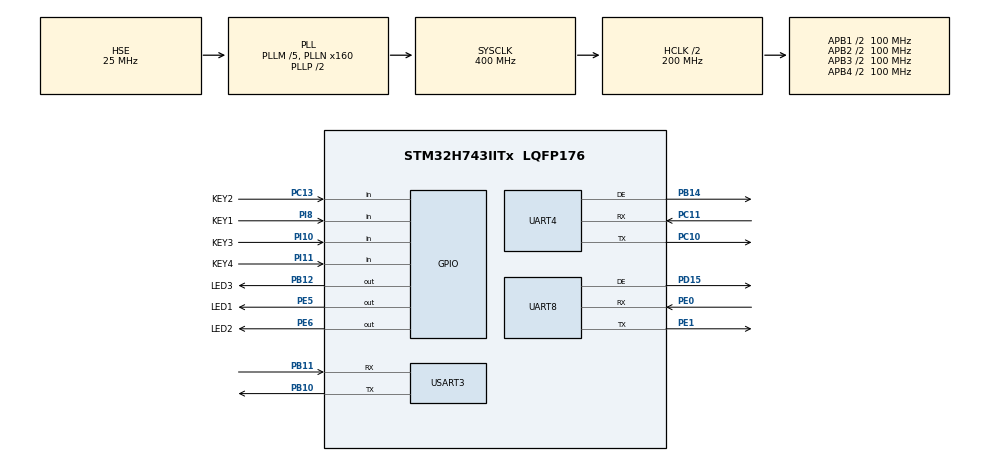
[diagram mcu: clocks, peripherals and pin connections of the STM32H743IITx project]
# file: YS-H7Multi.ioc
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CORTEX_M7.CPU_DCache=Enabled
CORTEX_M7.CPU_ICache=Enabled
FREERTOS.Tasks01=defaultTask,24,128,StartDefaultTask,Default,NULL,Dynamic,NULL,NULL;myMbReadSensors,8,256,StartMbReadSensorsTask,As external,NULL,Dynamic,NULL,NULL;myMbSettingsTas,8,256,StartMbSettingsTask,As external,NULL,Dynamic,NULL,NULL
FREERTOS.Timers01=basic1SecTimer,basic1SecCallback,osTimerPeriodic,As external,NULL,Dynamic,NULL
FREERTOS.configGENERATE_RUN_TIME_STATS=1
FREERTOS.configUSE_STATS_FORMATTING_FUNCTIONS=1
IWDG1.Prescaler=IWDG_PRESCALER_32
Mcu.Family=STM32H7
Mcu.Name=STM32H743IITx
Mcu.Package=LQFP176
NVIC.PriorityGroup=NVIC_PRIORITYGROUP_4
NVIC.TIM7_IRQn=true\:15\:0\:false\:false\:true\:false\:false\:true
NVIC.TimeBase=TIM7_IRQn
NVIC.TimeBaseIP=TIM7
NVIC.UART4_IRQn=true\:5\:0\:false\:false\:true\:true\:true\:true
NVIC.USART3_IRQn=true\:5\:0\:false\:false\:true\:true\:true\:true
PA13\ (JTMS/SWDIO).Mode=Serial_Wire
PA13\ (JTMS/SWDIO).Signal=DEBUG_JTMS-SWDIO
PA14\ (JTCK/SWCLK).Mode=Serial_Wire
PA14\ (JTCK/SWCLK).Signal=DEBUG_JTCK-SWCLK
PB10.Mode=Asynchronous
PB10.Signal=USART3_TX
PB11.Mode=Asynchronous
PB11.Signal=USART3_RX
PB12.GPIO_Label=LED3
PB12.Signal=GPIO_Output
PB14.Mode=Hardware Flow Control (RS485)
PB14.Signal=UART4_DE
PC10.Mode=Asynchronous
PC10.Signal=UART4_TX
PC11.Mode=Asynchronous
PC11.Signal=UART4_RX
PC13.GPIO_Label=KEY2
PC13.Signal=GPIO_Input
PC14-OSC32_IN\ (OSC32_IN).Mode=LSE-External-Oscillator
PC14-OSC32_IN\ (OSC32_IN).Signal=RCC_OSC32_IN
PC15-OSC32_OUT\ (OSC32_OUT).Mode=LSE-External-Oscillator
PC15-OSC32_OUT\ (OSC32_OUT).Signal=RCC_OSC32_OUT
PD15.Mode=Hardware Flow Control (RS485)
PD15.Signal=UART8_DE
PE0.Mode=Asynchronous
PE0.Signal=UART8_RX
PE1.Mode=Asynchronous
PE1.Signal=UART8_TX
PE5.GPIO_Label=LED1
PE5.Signal=GPIO_Output
PE6.GPIO_Label=LED2
PE6.Signal=GPIO_Output
PH0-OSC_IN\ (PH0).Mode=HSE-External-Oscillator
PH0-OSC_IN\ (PH0).Signal=RCC_OSC_IN
PH1-OSC_OUT\ (PH1).Mode=HSE-External-Oscillator
PH1-OSC_OUT\ (PH1).Signal=RCC_OSC_OUT
PI10.GPIO_Label=KEY3
PI10.Signal=GPIO_Input
PI11.GPIO_Label=KEY4
PI11.Signal=GPIO_Input
PI8.GPIO_Label=KEY1
PI8.Signal=GPIO_Input
ProjectManager.HeapSize=0x400
ProjectManager.StackSize=0x1000
ProjectManager.TargetToolchain=STM32CubeIDE
RCC.ADCCLockSelection=RCC_ADCCLKSOURCE_PLL2
RCC.ADCFreq_Value=400000000
RCC.APB1Freq_Value=100000000
RCC.APB2Freq_Value=100000000
RCC.APB3Freq_Value=100000000
RCC.APB4Freq_Value=100000000
RCC.CECCLockSelection=RCC_CECCLKSOURCE_LSI
RCC.CKPERSourceSelection=RCC_CLKPSOURCE_HSI
RCC.CSI_VALUE=4000000
RCC.CortexFreq_Value=400000000
RCC.Cortex_Div=SYSTICK_CLKSOURCE_HCLK
RCC.Cortex_DivARG=SystemCoreClock/1000
RCC.D1CPRE=RCC_SYSCLK_DIV1
RCC.D1PPRE=RCC_APB3_DIV2
RCC.D2PPRE1=RCC_APB1_DIV2
RCC.D2PPRE2=RCC_APB2_DIV2
RCC.D3PPRE=RCC_APB4_DIV2
RCC.DFSDMCLockSelection=RCC_DFSDM1CLKSOURCE_D2PCLK1
RCC.DIVM1=5
RCC.DIVM2=5
RCC.DIVM3=5
RCC.DIVN1=160
RCC.DIVN2=160
RCC.DIVN3=160
RCC.DIVP1=2
RCC.DIVP2=2
RCC.DIVP3=2
RCC.DIVQ1=2
RCC.DIVQ2=2
RCC.DIVQ3=2
RCC.DIVR1=2
RCC.DIVR2=2
RCC.DIVR3=2
RCC.DSICLockSelection=RCC_DSICLKSOURCE_PHY
RCC.DSIPHY_Div=8
RCC.DSITX_Div=4
RCC.DSI_PHY_VALUE=12288000
RCC.EXTERNAL_CLOCK_VALUE=12288000
RCC.EnbaleCSS=true
RCC.FDCANCLockSelection=RCC_FDCANCLKSOURCE_PLL
RCC.FMCCLockSelection=RCC_FMCCLKSOURCE_D1HCLK
RCC.HCLKFreq_Value=200000000
RCC.HPRE=RCC_HCLK_DIV2
RCC.HSE_VALUE=25000000
RCC.HSIDiv=RCC_PLLSAIDIVR_1
RCC.HSI_VALUE=64000000
RCC.I2C123CLockSelection=RCC_I2C123CLKSOURCE_D2PCLK1
RCC.I2C4CLockSelection=RCC_I2C4CLKSOURCE_D3PCLK1
RCC.LPTIM1CLockSelection=RCC_LPTIM1CLKSOURCE_D2PCLK1
RCC.LPTIM2CLockSelection=RCC_LPTIM2CLKSOURCE_D3PCLK1
RCC.LPTIM345CLockSelection=RCC_LPTIM345CLKSOURCE_D3PCLK1
RCC.LPUART1CLockSelection=RCC_LPUART1CLKSOURCE_D3PCLK1
RCC.PLLDSIDev=2
RCC.PLLDSIIDF=DSI_PLL_IN_DIV1
RCC.PLLDSIMult=2
RCC.PLLDSINDIV=20
RCC.PLLDSIODF=DSI_PLL_OUT_DIV1
RCC.PLLSourceVirtual=RCC_PLLSOURCE_HSE
RCC.PWR_Regulator_Voltage_Scale=PWR_REGULATOR_VOLTAGE_SCALE1
RCC.QSPICLockSelection=RCC_QSPICLKSOURCE_D1HCLK
RCC.RC48_VALUE=48000000
RCC.RCC_MCO1Source=RCC_MCO1SOURCE_HSI
RCC.RCC_MCO2Source=RCC_MCO2SOURCE_SYSCLK
RCC.RCC_MCODiv1=RCC_MCODIV_1
RCC.RCC_MCODiv2=RCC_MCODIV_1
RCC.RCC_RTC_Clock_Source_FROM_HSE=RCC_RTCCLKSOURCE_HSE_DIV2
RCC.RNGCLockSelection=RCC_RNGCLKSOURCE_HSI48
RCC.RTCClockSelection=RCC_RTCCLKSOURCE_LSE
RCC.SAI1CLockSelection=RCC_SAI1CLKSOURCE_PLL
RCC.SAI23CLockSelection=RCC_SAI23CLKSOURCE_PLL
RCC.SAI4ACLockSelection=RCC_SAI4ACLKSOURCE_PLL
RCC.SAI4BCLockSelection=RCC_SAI4BCLKSOURCE_PLL
RCC.SPDIFCLockSelection=RCC_SPDIFRXCLKSOURCE_PLL
RCC.SPI123CLockSelection=RCC_SPI123CLKSOURCE_PLL
RCC.SPI6CLockSelection=RCC_SPI6CLKSOURCE_D3PCLK1
RCC.SWPCLockSelection=RCC_SWPMI1CLKSOURCE_D2PCLK1
RCC.SYSCLKFreq_VALUE=400000000
RCC.SYSCLKSource=RCC_SYSCLKSOURCE_PLLCLK
RCC.Spi45ClockSelection=RCC_SPI45CLKSOURCE_D2PCLK1
RCC.USART16CLockSelection=RCC_USART16CLKSOURCE_D2PCLK2
RCC.USBCLockSelection=RCC_USBCLKSOURCE_PLL
RCC.USBFreq_Value=400000000
RTC.Date=DEFAULT_DATE_DAY
RTC.Hours=DEFAULT_TIME_HOUR
RTC.Minutes=DEFAULT_TIME_MINUTE
RTC.Month=DEFAULT_DATE_MONTH
RTC.Seconds=DEFAULT_TIME_SECOND
RTC.WeekDay=DEFAULT_WEEKDAY
RTC.Year=DEFAULT_DATE_YEAR
UART4.BaudRate=MODBUS_SENSOR_BAUDRATE
UART8.BaudRate=MODBUS_IOT_BAUDRATE
USART3.BaudRate=MODBUS_SETTINGS_BAUDRATE
USART3.VirtualMode-Asynchronous=VM_ASYNC
VP_FREERTOS_VS_CMSIS_V2.Mode=CMSIS_V2
VP_IWDG1_VS_IWDG.Mode=IWDG_Activate
VP_RTC_VS_RTC_Activate.Mode=RTC_Enabled
VP_RTC_VS_RTC_Calendar.Mode=RTC_Calendar
VP_SYS_VS_tim7.Mode=TIM7
board=custom

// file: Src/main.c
/* USER CODE BEGIN Header */
/**
  ******************************************************************************
  * @file           : main.c
  * @brief          : Main program body
  ******************************************************************************
  * @attention
  *
  * Copyright (c) 2021 STMicroelectronics.
  * All rights reserved.
  *
  * This software is licensed under terms that can be found in the LICENSE file
  * in the root directory of this software component.
  * If no LICENSE file comes with this software, it is provided AS-IS.
  *
  ******************************************************************************
  */
/* USER CODE END Header */
#include "main.h"
#include "cmsis_os.h"
#include "iwdg.h"
#include "rtc.h"
#include "usart.h"
#include "gpio.h"

/* USER CODE BEGIN Includes */
#include <stdio.h>
#include "cfg.h"
#include "debug.h"
#include "Modbus.h"
#include "swTimer.h"
#include "sysIO.h"
#include "keyProc.h"
/* USER CODE END Includes */

/* USER CODE BEGIN PV */
/*
  for MDK-ARM
  GCC/IAR need definition a section in linkscript
*/

#if defined ( __CC_ARM ) /* for KEIL/ARM */
#define CONST_FW_INFO_BASE (0x801FC00)
const char FW_PROJ[16] __attribute__((at(CONST_FW_INFO_BASE))) = "TAIRONE";
const uint8_t FW_VER[8] __attribute__((at((CONST_FW_INFO_BASE+0x10)))) = { 1, 0, 0, 0};
const char FW_BUILDDATE[16] __attribute__((at((CONST_FW_INFO_BASE+0x18)))) = __DATE__;
#else /* for GCC */
const char FW_PROJ[16]  __attribute__ ((section (".fw_info"))) = "TAIRONE";
const uint8_t FW_VER[8]  __attribute__ ((section (".fw_info"))) = { 1, 0, 0, 0};
const char FW_BUILDDATE[16]  __attribute__ ((section (".fw_info"))) = __DATE__;
#endif

/* USER CODE END PV */

void SystemClock_Config(void);
void MX_FREERTOS_Init(void);

int main(void)
{

  /* Enable I-Cache---------------------------------------------------------*/
  SCB_EnableICache();

  /* Enable D-Cache---------------------------------------------------------*/
  SCB_EnableDCache();

  /* MCU Configuration--------------------------------------------------------*/

  /* Reset of all peripherals, Initializes the Flash interface and the Systick. */
  HAL_Init();

  /* Configure the system clock */
  SystemClock_Config();

  /* Initialize all configured peripherals */
  MX_GPIO_Init();
  MX_UART4_Init();
  MX_UART8_Init();
  MX_USART3_UART_Init();
  MX_RTC_Init();
  MX_IWDG1_Init();
  /* USER CODE BEGIN 2 */
  ModbusInitVar();
  initSwTimer();
  initSysIO();
  initKeyProc();
  checkAndLoadCfg();

  DEBUG_PRINTF(RTT_CTRL_CLEAR RTT_CTRL_RESET);
  DEBUG_PRINTF("complete STM32H743 init with ");
  #if defined ( __CC_ARM )
  DEBUG_PRINTF("KEIL/ARM\n");
  #elif defined ( __GNUC__ )
  DEBUG_PRINTF("GCC\n");
  #else
  DEBUG_PRINTF("Unknow toolchain\n");
  #endif
  DEBUG_PRINTF("STM32H743 Project start - RTT\n");

  /* USER CODE END 2 */

  /* Init scheduler */
  osKernelInitialize();  /* Call init function for freertos objects (in freertos.c) */
  MX_FREERTOS_Init();
  /* Start scheduler */
  osKernelStart();

  /* We should never get here as control is now taken by the scheduler */
  /* Infinite loop */
  while (1)
  {

  }
}

void SystemClock_Config(void)
{
  RCC_OscInitTypeDef RCC_OscInitStruct = {0};
  RCC_ClkInitTypeDef RCC_ClkInitStruct = {0};

  /** Supply configuration update enable
  */
  HAL_PWREx_ConfigSupply(PWR_LDO_SUPPLY);
  /** Configure the main internal regulator output voltage
  */
  __HAL_PWR_VOLTAGESCALING_CONFIG(PWR_REGULATOR_VOLTAGE_SCALE1);

  while(!__HAL_PWR_GET_FLAG(PWR_FLAG_VOSRDY)) {}
  /** Configure LSE Drive Capability
  */
  HAL_PWR_EnableBkUpAccess();
  __HAL_RCC_LSEDRIVE_CONFIG(RCC_LSEDRIVE_LOW);
  /** Initializes the RCC Oscillators according to the specified parameters
  * in the RCC_OscInitTypeDef structure.
  */
  RCC_OscInitStruct.OscillatorType = RCC_OSCILLATORTYPE_LSI|RCC_OSCILLATORTYPE_HSE
                              |RCC_OSCILLATORTYPE_LSE;
  RCC_OscInitStruct.HSEState = RCC_HSE_ON;
  RCC_OscInitStruct.LSEState = RCC_LSE_ON;
  RCC_OscInitStruct.LSIState = RCC_LSI_ON;
  RCC_OscInitStruct.PLL.PLLState = RCC_PLL_ON;
  RCC_OscInitStruct.PLL.PLLSource = RCC_PLLSOURCE_HSE;
  RCC_OscInitStruct.PLL.PLLM = 5;
  RCC_OscInitStruct.PLL.PLLN = 160;
  RCC_OscInitStruct.PLL.PLLP = 2;
  RCC_OscInitStruct.PLL.PLLQ = 2;
  RCC_OscInitStruct.PLL.PLLR = 2;
  RCC_OscInitStruct.PLL.PLLRGE = RCC_PLL1VCIRANGE_2;
  RCC_OscInitStruct.PLL.PLLVCOSEL = RCC_PLL1VCOWIDE;
  RCC_OscInitStruct.PLL.PLLFRACN = 0;
  if (HAL_RCC_OscConfig(&RCC_OscInitStruct) != HAL_OK)
  {
    Error_Handler();
  }
  /** Initializes the CPU, AHB and APB buses clocks
  */
  RCC_ClkInitStruct.ClockType = RCC_CLOCKTYPE_HCLK|RCC_CLOCKTYPE_SYSCLK
                              |RCC_CLOCKTYPE_PCLK1|RCC_CLOCKTYPE_PCLK2
                              |RCC_CLOCKTYPE_D3PCLK1|RCC_CLOCKTYPE_D1PCLK1;
  RCC_ClkInitStruct.SYSCLKSource = RCC_SYSCLKSOURCE_PLLCLK;
  RCC_ClkInitStruct.SYSCLKDivider = RCC_SYSCLK_DIV1;
  RCC_ClkInitStruct.AHBCLKDivider = RCC_HCLK_DIV2;
  RCC_ClkInitStruct.APB3CLKDivider = RCC_APB3_DIV2;
  RCC_ClkInitStruct.APB1CLKDivider = RCC_APB1_DIV2;
  RCC_ClkInitStruct.APB2CLKDivider = RCC_APB2_DIV2;
  RCC_ClkInitStruct.APB4CLKDivider = RCC_APB4_DIV2;

  if (HAL_RCC_ClockConfig(&RCC_ClkInitStruct, FLASH_LATENCY_2) != HAL_OK)
  {
    Error_Handler();
  }
  /** Enables the Clock Security System
  */
  HAL_RCC_EnableCSS();
}

void HAL_TIM_PeriodElapsedCallback(TIM_HandleTypeDef *htim)
{
  if (htim->Instance == TIM7) {
    HAL_IncTick();
  }
}

void Error_Handler(void)
{
  __disable_irq();
  while (1)
  {
  }
}

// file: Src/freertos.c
/* USER CODE BEGIN Header */
/**
  ******************************************************************************
  * File Name          : freertos.c
  * Description        : Code for freertos applications
  ******************************************************************************
  * @attention
  *
  * Copyright (c) 2021 STMicroelectronics.
  * All rights reserved.
  *
  * This software is licensed under terms that can be found in the LICENSE file
  * in the root directory of this software component.
  * If no LICENSE file comes with this software, it is provided AS-IS.
  *
  ******************************************************************************
  */
/* USER CODE END Header */

#include "FreeRTOS.h"
#include "task.h"
#include "main.h"
#include "cmsis_os.h"

/* USER CODE BEGIN Includes */
#include <stdio.h>
#include <string.h>
#include "rtc.h"
#include "keyProc.h"
#include "debug.h"
#include "mytime.h"
#include "swTimer.h"
#include "towerProc.h"
#include "cleanProc.h"
#include "sysIO.h"
/* USER CODE END Includes */

/* USER CODE BEGIN Variables */
extern IWDG_HandleTypeDef hiwdg1;
extern struct SystemSettings*  pSysSettings;

osThreadId_t dbgTaskHandle;
const osThreadAttr_t dbgTask_attributes = {
  .name = "dbgTask",
  .stack_size = 128 * 4,
  .priority = (osPriority_t) osPriorityLow,
};

osMutexId_t mutexSysMyTime_id;

const osMutexAttr_t sysMyTime_Mutex_attr = {
  "MutexSysMyTime",     // human readable mutex name
  osMutexRecursive,    // attr_bits
  NULL,                // memory for control block
  0U                   // size for control block
};

/* USER CODE END Variables */
/* Definitions for defaultTask */
osThreadId_t defaultTaskHandle;
const osThreadAttr_t defaultTask_attributes = {
  .name = "defaultTask",
  .stack_size = 128 * 4,
  .priority = (osPriority_t) osPriorityNormal,
};
/* Definitions for myMbReadSensors */
osThreadId_t myMbReadSensorsHandle;
const osThreadAttr_t myMbReadSensors_attributes = {
  .name = "myMbReadSensors",
  .stack_size = 256 * 4,
  .priority = (osPriority_t) osPriorityLow,
};
/* Definitions for myMbSettingsTas */
osThreadId_t myMbSettingsTasHandle;
const osThreadAttr_t myMbSettingsTas_attributes = {
  .name = "myMbSettingsTas",
  .stack_size = 256 * 4,
  .priority = (osPriority_t) osPriorityLow,
};
/* Definitions for basic1SecTimer */
osTimerId_t basic1SecTimerHandle;
const osTimerAttr_t basic1SecTimer_attributes = {
  .name = "basic1SecTimer"
};

/* USER CODE BEGIN FunctionPrototypes */
extern void InitMbReadSensors(void);
extern void InitMbSettings(void);
extern void InitMbIoT(void);
extern void modbusIoTProc(void);
void StartDbgTask(void *argument);
/* USER CODE END FunctionPrototypes */

void StartDefaultTask(void *argument);
extern void StartMbReadSensorsTask(void *argument);
extern void StartMbSettingsTask(void *argument);
extern void basic1SecCallback(void *argument);

void MX_FREERTOS_Init(void); /* (MISRA C 2004 rule 8.1) */

/* Hook prototypes */
void configureTimerForRunTimeStats(void);
unsigned long getRunTimeCounterValue(void);

/* USER CODE BEGIN 1 */
/* Functions needed when configGENERATE_RUN_TIME_STATS is on */
__weak void configureTimerForRunTimeStats(void)
{

}

__weak unsigned long getRunTimeCounterValue(void)
{
return 0;
}
/* USER CODE END 1 */

void MX_FREERTOS_Init(void) {
  /* USER CODE BEGIN Init */
  InitMbReadSensors();
  InitMbSettings();

  /* USER CODE END Init */

  /* USER CODE BEGIN RTOS_MUTEX */
  /* add mutexes, ... */
  mutexSysMyTime_id = osMutexNew(&sysMyTime_Mutex_attr);
  /* USER CODE END RTOS_MUTEX */

  /* Create the timer(s) */
  /* creation of basic1SecTimer */
  basic1SecTimerHandle = osTimerNew(basic1SecCallback, osTimerPeriodic, NULL, &basic1SecTimer_attributes);

  /* USER CODE BEGIN RTOS_TIMERS */
  /* start timers, add new ones, ... */
  osTimerStart(basic1SecTimerHandle, 1000U); /* start Timer 1 second */
  /* USER CODE END RTOS_TIMERS */

  /* Create the thread(s) */
  /* creation of defaultTask */
  defaultTaskHandle = osThreadNew(StartDefaultTask, NULL, &defaultTask_attributes);

  /* creation of myMbReadSensors */
  myMbReadSensorsHandle = osThreadNew(StartMbReadSensorsTask, NULL, &myMbReadSensors_attributes);

  /* creation of myMbSettingsTas */
  myMbSettingsTasHandle = osThreadNew(StartMbSettingsTask, NULL, &myMbSettingsTas_attributes);

  /* USER CODE BEGIN RTOS_THREADS */
  /* add threads, ... */
  dbgTaskHandle = osThreadNew(StartDbgTask, NULL, &dbgTask_attributes);
  /* USER CODE END RTOS_THREADS */

}

void StartDefaultTask(void *argument)
{
  /* USER CODE BEGIN StartDefaultTask */
  InitMbIoT();
  initTowerProc();
  initCleanProc();

  /* Infinite loop */
  for(;;)
  {
    HAL_IWDG_Refresh(&hiwdg1);
    TowerProc();
    CleanProc();
    modbusIoTProc();
    keyProc();
    osDelay(10);
  }
  /* USER CODE END StartDefaultTask */
}

/* USER CODE BEGIN Application */
void StartDbgTask(void *argument)
{
  char cmd[80] = {0};
  for (;;) {
    if (SEGGER_RTT_Read(0, cmd, sizeof(cmd)) > 0) {
      if (memcmp("dump", cmd, 4) == 0) {
        DEBUG_PRINTF("DO:0x%04X\n", sysOut._out);
      }
      memset(cmd, 0, sizeof(cmd));
    }

    osDelay(100);
  }
}
/* USER CODE END Application */
